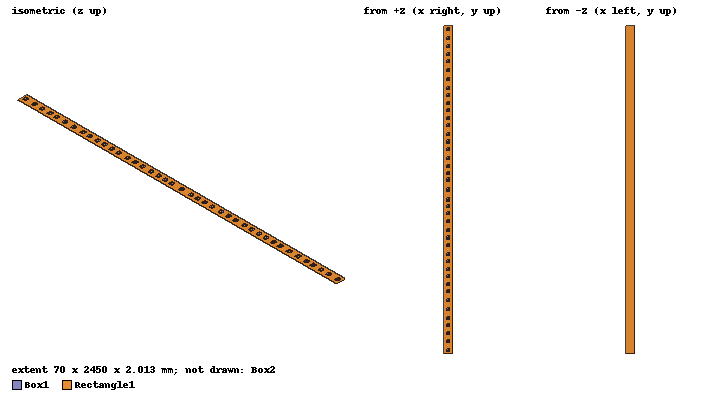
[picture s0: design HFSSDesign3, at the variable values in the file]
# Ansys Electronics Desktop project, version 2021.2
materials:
  copper: permeability=0.999991 conductivity=58000000
  tp-2 16: permittivity=16 dielectric_loss_tangent=0.0015
  vacuum: permittivity=1

design HFSSDesign3 (HFSS, DrivenModal, model units mm)
options: Calculate_Lossy_Dielectrics Save_Adaptive_support_files
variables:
  gx = 25mm
  gy = gx
  h = 1.013mm
  pa = 14.75mm
  df = 1.4mm
  rf = 0.5mm
  a = 50mm
  h1 = 1mm
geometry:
  Box1 [tp-2 16] = box(corner=(-gx/2, -gy/2, 0mm), size=(gx, gy, h))
  gnd = rectangle(corner=(-gx/2, -gy/2, 0mm), x_size=gx, y_size=gy)
  coordinate_system RelativeCS1 = origin=(0mm, 0mm, h) x=(1mm, 0mm, 0mm) y=(0mm, 1mm, 0mm)
  patch = rectangle(corner=(-pa/2, -pa/2, 0mm), x_size=pa, y_size=pa) in RelativeCS1
  coordinate_system RelativeCS2 = origin=(df, 0mm, 0mm) x=(1mm, 0mm, 0mm) y=(0mm, 1mm, 0mm) in RelativeCS1
  Cylinder1 [copper] = cylinder(axis=Z, base_centre=(0mm, 0mm, 0mm), radius=rf, height=-h) in RelativeCS2
  port1 = circle(normal=Z, centre=(0mm, 0mm, -h), radius=rf*2.3) in RelativeCS2
  Circle1_1 = port1.copy()
  gnd.subtract(Circle1_1)
  Box2 [vacuum] = box(corner=(-80mm, -1250mm, -50mm), size=(160mm, 2500mm, 105mm))
  Rectangle1 = rectangle(corner=(-a/2, -a/2, -h1), x_size=a, y_size=a)
  Box1_1 = Box1.duplicate_along_line(step=(0mm, 74.58mm, 0mm), total=2)
  gnd_1 = gnd.duplicate_along_line(step=(0mm, 74.58mm, 0mm), total=2)
  patch_1 = patch.duplicate_along_line(step=(0mm, 74.58mm, 0mm), total=2)
  Cylinder1_1 [copper] = Cylinder1.duplicate_along_line(step=(0mm, 74.58mm, 0mm), total=2)
  port1_1 = port1.duplicate_along_line(step=(0mm, 74.58mm, 0mm), total=2)
  Rectangle1_1 = Rectangle1.duplicate_along_line(step=(0mm, 74.58mm, 0mm), total=2)
  Box1_2 = Box1.duplicate_along_line(step=(0mm, 124.96mm, 0mm), total=2)
  gnd_2 = gnd.duplicate_along_line(step=(0mm, 124.96mm, 0mm), total=2)
  patch_2 = patch.duplicate_along_line(step=(0mm, 124.96mm, 0mm), total=2)
  Cylinder1_2 [copper] = Cylinder1.duplicate_along_line(step=(0mm, 124.96mm, 0mm), total=2)
  port1_2 = port1.duplicate_along_line(step=(0mm, 124.96mm, 0mm), total=2)
  Rectangle1_2 = Rectangle1.duplicate_along_line(step=(0mm, 124.96mm, 0mm), total=2)
  Box1_3 = Box1.duplicate_along_line(step=(0mm, 176.92mm, 0mm), total=2)
  gnd_3 = gnd.duplicate_along_line(step=(0mm, 176.92mm, 0mm), total=2)
  patch_3 = patch.duplicate_along_line(step=(0mm, 176.92mm, 0mm), total=2)
  Cylinder1_3 [copper] = Cylinder1.duplicate_along_line(step=(0mm, 176.92mm, 0mm), total=2)
  port1_3 = port1.duplicate_along_line(step=(0mm, 176.92mm, 0mm), total=2)
  Rectangle1_3 = Rectangle1.duplicate_along_line(step=(0mm, 176.92mm, 0mm), total=2)
  Box1_4 = Box1.duplicate_along_line(step=(0mm, 234.85mm, 0mm), total=2)
  gnd_4 = gnd.duplicate_along_line(step=(0mm, 234.85mm, 0mm), total=2)
  patch_4 = patch.duplicate_along_line(step=(0mm, 234.85mm, 0mm), total=2)
  Cylinder1_4 [copper] = Cylinder1.duplicate_along_line(step=(0mm, 234.85mm, 0mm), total=2)
  port1_4 = port1.duplicate_along_line(step=(0mm, 234.85mm, 0mm), total=2)
  Rectangle1_4 = Rectangle1.duplicate_along_line(step=(0mm, 234.85mm, 0mm), total=2)
  Box1_5 = Box1.duplicate_along_line(step=(0mm, 300.51mm, 0mm), total=2)
  gnd_5 = gnd.duplicate_along_line(step=(0mm, 300.51mm, 0mm), total=2)
  patch_5 = patch.duplicate_along_line(step=(0mm, 300.51mm, 0mm), total=2)
  Cylinder1_5 [copper] = Cylinder1.duplicate_along_line(step=(0mm, 300.51mm, 0mm), total=2)
  port1_5 = port1.duplicate_along_line(step=(0mm, 300.51mm, 0mm), total=2)
  Rectangle1_5 = Rectangle1.duplicate_along_line(step=(0mm, 300.51mm, 0mm), total=2)
  Box1_6 = Box1.duplicate_along_line(step=(0mm, 358.43mm, 0mm), total=2)
  gnd_6 = gnd.duplicate_along_line(step=(0mm, 358.43mm, 0mm), total=2)
  patch_6 = patch.duplicate_along_line(step=(0mm, 358.43mm, 0mm), total=2)
  Cylinder1_6 [copper] = Cylinder1.duplicate_along_line(step=(0mm, 358.43mm, 0mm), total=2)
  port1_6 = port1.duplicate_along_line(step=(0mm, 358.43mm, 0mm), total=2)
  Rectangle1_6 = Rectangle1.duplicate_along_line(step=(0mm, 358.43mm, 0mm), total=2)
  Box1_7 = Box1.duplicate_along_line(step=(0mm, 413.9mm, 0mm), total=2)
  gnd_7 = gnd.duplicate_along_line(step=(0mm, 413.9mm, 0mm), total=2)
  patch_7 = patch.duplicate_along_line(step=(0mm, 413.9mm, 0mm), total=2)
  Cylinder1_7 [copper] = Cylinder1.duplicate_along_line(step=(0mm, 413.9mm, 0mm), total=2)
  port1_7 = port1.duplicate_along_line(step=(0mm, 413.9mm, 0mm), total=2)
  Rectangle1_7 = Rectangle1.duplicate_along_line(step=(0mm, 413.9mm, 0mm), total=2)
  Box1_8 = Box1.duplicate_along_line(step=(0mm, 481.86mm, 0mm), total=2)
  gnd_8 = gnd.duplicate_along_line(step=(0mm, 481.86mm, 0mm), total=2)
  patch_8 = patch.duplicate_along_line(step=(0mm, 481.86mm, 0mm), total=2)
  Cylinder1_8 [copper] = Cylinder1.duplicate_along_line(step=(0mm, 481.86mm, 0mm), total=2)
  port1_8 = port1.duplicate_along_line(step=(0mm, 481.86mm, 0mm), total=2)
  Rectangle1_8 = Rectangle1.duplicate_along_line(step=(0mm, 481.86mm, 0mm), total=2)
  Box1_9 = Box1.duplicate_along_line(step=(0mm, 535.4mm, 0mm), total=2)
  gnd_9 = gnd.duplicate_along_line(step=(0mm, 535.4mm, 0mm), total=2)
  patch_9 = patch.duplicate_along_line(step=(0mm, 535.4mm, 0mm), total=2)
  Cylinder1_9 [copper] = Cylinder1.duplicate_along_line(step=(0mm, 535.4mm, 0mm), total=2)
  port1_9 = port1.duplicate_along_line(step=(0mm, 535.4mm, 0mm), total=2)
  Rectangle1_9 = Rectangle1.duplicate_along_line(step=(0mm, 535.4mm, 0mm), total=2)
  Box1_10 = Box1.duplicate_along_line(step=(0mm, 594.53mm, 0mm), total=2)
  gnd_10 = gnd.duplicate_along_line(step=(0mm, 594.53mm, 0mm), total=2)
  patch_10 = patch.duplicate_along_line(step=(0mm, 594.53mm, 0mm), total=2)
  Cylinder1_10 [copper] = Cylinder1.duplicate_along_line(step=(0mm, 594.53mm, 0mm), total=2)
  port1_10 = port1.duplicate_along_line(step=(0mm, 594.53mm, 0mm), total=2)
  Rectangle1_10 = Rectangle1.duplicate_along_line(step=(0mm, 594.53mm, 0mm), total=2)
  Box1_11 = Box1.duplicate_along_line(step=(0mm, 646.73mm, 0mm), total=2)
  gnd_11 = gnd.duplicate_along_line(step=(0mm, 646.73mm, 0mm), total=2)
  patch_11 = patch.duplicate_along_line(step=(0mm, 646.73mm, 0mm), total=2)
  Cylinder1_11 [copper] = Cylinder1.duplicate_along_line(step=(0mm, 646.73mm, 0mm), total=2)
  port1_11 = port1.duplicate_along_line(step=(0mm, 646.73mm, 0mm), total=2)
  Rectangle1_11 = Rectangle1.duplicate_along_line(step=(0mm, 646.73mm, 0mm), total=2)
  Box1_12 = Box1.duplicate_along_line(step=(0mm, 705.14mm, 0mm), total=2)
  gnd_12 = gnd.duplicate_along_line(step=(0mm, 705.14mm, 0mm), total=2)
  patch_12 = patch.duplicate_along_line(step=(0mm, 705.14mm, 0mm), total=2)
  Cylinder1_12 [copper] = Cylinder1.duplicate_along_line(step=(0mm, 705.14mm, 0mm), total=2)
  port1_12 = port1.duplicate_along_line(step=(0mm, 705.14mm, 0mm), total=2)
  Rectangle1_12 = Rectangle1.duplicate_along_line(step=(0mm, 705.14mm, 0mm), total=2)
  Box1_13 = Box1.duplicate_along_line(step=(0mm, 757.27mm, 0mm), total=2)
  gnd_13 = gnd.duplicate_along_line(step=(0mm, 757.27mm, 0mm), total=2)
  patch_13 = patch.duplicate_along_line(step=(0mm, 757.27mm, 0mm), total=2)
  Cylinder1_13 [copper] = Cylinder1.duplicate_along_line(step=(0mm, 757.27mm, 0mm), total=2)
  port1_13 = port1.duplicate_along_line(step=(0mm, 757.27mm, 0mm), total=2)
  Rectangle1_13 = Rectangle1.duplicate_along_line(step=(0mm, 757.27mm, 0mm), total=2)
  Box1_14 = Box1.duplicate_along_line(step=(0mm, 827.45mm, 0mm), total=2)
  gnd_14 = gnd.duplicate_along_line(step=(0mm, 827.45mm, 0mm), total=2)
  patch_14 = patch.duplicate_along_line(step=(0mm, 827.45mm, 0mm), total=2)
  Cylinder1_14 [copper] = Cylinder1.duplicate_along_line(step=(0mm, 827.45mm, 0mm), total=2)
  port1_14 = port1.duplicate_along_line(step=(0mm, 827.45mm, 0mm), total=2)
  Rectangle1_14 = Rectangle1.duplicate_along_line(step=(0mm, 827.45mm, 0mm), total=2)
  Box1_15 = Box1.duplicate_along_line(step=(0mm, 894.43mm, 0mm), total=2)
  gnd_15 = gnd.duplicate_along_line(step=(0mm, 894.43mm, 0mm), total=2)
  patch_15 = patch.duplicate_along_line(step=(0mm, 894.43mm, 0mm), total=2)
  Cylinder1_15 [copper] = Cylinder1.duplicate_along_line(step=(0mm, 894.43mm, 0mm), total=2)
  port1_15 = port1.duplicate_along_line(step=(0mm, 894.43mm, 0mm), total=2)
  Rectangle1_15 = Rectangle1.duplicate_along_line(step=(0mm, 894.43mm, 0mm), total=2)
  Box1_16 = Box1.duplicate_along_line(step=(0mm, 959.48mm, 0mm), total=2)
  gnd_16 = gnd.duplicate_along_line(step=(0mm, 959.48mm, 0mm), total=2)
  patch_16 = patch.duplicate_along_line(step=(0mm, 959.48mm, 0mm), total=2)
  Cylinder1_16 [copper] = Cylinder1.duplicate_along_line(step=(0mm, 959.48mm, 0mm), total=2)
  port1_16 = port1.duplicate_along_line(step=(0mm, 959.48mm, 0mm), total=2)
  Rectangle1_16 = Rectangle1.duplicate_along_line(step=(0mm, 959.48mm, 0mm), total=2)
  Box1_17 = Box1.duplicate_along_line(step=(0mm, 1010.34mm, 0mm), total=2)
  gnd_17 = gnd.duplicate_along_line(step=(0mm, 1010.34mm, 0mm), total=2)
  patch_17 = patch.duplicate_along_line(step=(0mm, 1010.34mm, 0mm), total=2)
  Cylinder1_17 [copper] = Cylinder1.duplicate_along_line(step=(0mm, 1010.34mm, 0mm), total=2)
  port1_17 = port1.duplicate_along_line(step=(0mm, 1010.34mm, 0mm), total=2)
  Rectangle1_17 = Rectangle1.duplicate_along_line(step=(0mm, 1010.34mm, 0mm), total=2)
  Box1_18 = Box1.duplicate_along_line(step=(0mm, 1071.77mm, 0mm), total=2)
  gnd_18 = gnd.duplicate_along_line(step=(0mm, 1071.77mm, 0mm), total=2)
  patch_18 = patch.duplicate_along_line(step=(0mm, 1071.77mm, 0mm), total=2)
  Cylinder1_18 [copper] = Cylinder1.duplicate_along_line(step=(0mm, 1071.77mm, 0mm), total=2)
  port1_18 = port1.duplicate_along_line(step=(0mm, 1071.77mm, 0mm), total=2)
  Rectangle1_18 = Rectangle1.duplicate_along_line(step=(0mm, 1071.77mm, 0mm), total=2)
  Box1_19 = Box1.duplicate_along_line(step=(0mm, 1131.29mm, 0mm), total=2)
  gnd_19 = gnd.duplicate_along_line(step=(0mm, 1131.29mm, 0mm), total=2)
  patch_19 = patch.duplicate_along_line(step=(0mm, 1131.29mm, 0mm), total=2)
  Cylinder1_19 [copper] = Cylinder1.duplicate_along_line(step=(0mm, 1131.29mm, 0mm), total=2)
  port1_19 = port1.duplicate_along_line(step=(0mm, 1131.29mm, 0mm), total=2)
  Rectangle1_19 = Rectangle1.duplicate_along_line(step=(0mm, 1131.29mm, 0mm), total=2)
  Box1_20 = Box1.duplicate_along_line(step=(0mm, 1200mm, 0mm), total=2)
  gnd_20 = gnd.duplicate_along_line(step=(0mm, 1200mm, 0mm), total=2)
  patch_20 = patch.duplicate_along_line(step=(0mm, 1200mm, 0mm), total=2)
  Cylinder1_20 [copper] = Cylinder1.duplicate_along_line(step=(0mm, 1200mm, 0mm), total=2)
  port1_20 = port1.duplicate_along_line(step=(0mm, 1200mm, 0mm), total=2)
  Rectangle1_20 = Rectangle1.duplicate_along_line(step=(0mm, 1200mm, 0mm), total=2)
  Box1_1_1 = Box1_1.duplicate_mirror(point=(140mm, 0mm, 0mm), normal=(0mm, -1mm, 0mm))
  gnd_1_1 = gnd_1.duplicate_mirror(point=(140mm, 0mm, 0mm), normal=(0mm, -1mm, 0mm))
  patch_1_1 = patch_1.duplicate_mirror(point=(140mm, 0mm, 0mm), normal=(0mm, -1mm, 0mm))
  Cylinder1_1_1 [copper] = Cylinder1_1.duplicate_mirror(point=(140mm, 0mm, 0mm), normal=(0mm, -1mm, 0mm))
  port1_1_1 = port1_1.duplicate_mirror(point=(140mm, 0mm, 0mm), normal=(0mm, -1mm, 0mm))
  Rectangle1_1_1 = Rectangle1_1.duplicate_mirror(point=(140mm, 0mm, 0mm), normal=(0mm, -1mm, 0mm))
  Box1_2_1 = Box1_2.duplicate_mirror(point=(140mm, 0mm, 0mm), normal=(0mm, -1mm, 0mm))
  gnd_2_1 = gnd_2.duplicate_mirror(point=(140mm, 0mm, 0mm), normal=(0mm, -1mm, 0mm))
  patch_2_1 = patch_2.duplicate_mirror(point=(140mm, 0mm, 0mm), normal=(0mm, -1mm, 0mm))
  Cylinder1_2_1 [copper] = Cylinder1_2.duplicate_mirror(point=(140mm, 0mm, 0mm), normal=(0mm, -1mm, 0mm))
  port1_2_1 = port1_2.duplicate_mirror(point=(140mm, 0mm, 0mm), normal=(0mm, -1mm, 0mm))
  Rectangle1_2_1 = Rectangle1_2.duplicate_mirror(point=(140mm, 0mm, 0mm), normal=(0mm, -1mm, 0mm))
  Box1_3_1 = Box1_3.duplicate_mirror(point=(140mm, 0mm, 0mm), normal=(0mm, -1mm, 0mm))
  gnd_3_1 = gnd_3.duplicate_mirror(point=(140mm, 0mm, 0mm), normal=(0mm, -1mm, 0mm))
  patch_3_1 = patch_3.duplicate_mirror(point=(140mm, 0mm, 0mm), normal=(0mm, -1mm, 0mm))
  Cylinder1_3_1 [copper] = Cylinder1_3.duplicate_mirror(point=(140mm, 0mm, 0mm), normal=(0mm, -1mm, 0mm))
  port1_3_1 = port1_3.duplicate_mirror(point=(140mm, 0mm, 0mm), normal=(0mm, -1mm, 0mm))
  Rectangle1_3_1 = Rectangle1_3.duplicate_mirror(point=(140mm, 0mm, 0mm), normal=(0mm, -1mm, 0mm))
  Box1_4_1 = Box1_4.duplicate_mirror(point=(140mm, 0mm, 0mm), normal=(0mm, -1mm, 0mm))
  gnd_4_1 = gnd_4.duplicate_mirror(point=(140mm, 0mm, 0mm), normal=(0mm, -1mm, 0mm))
  patch_4_1 = patch_4.duplicate_mirror(point=(140mm, 0mm, 0mm), normal=(0mm, -1mm, 0mm))
  Cylinder1_4_1 [copper] = Cylinder1_4.duplicate_mirror(point=(140mm, 0mm, 0mm), normal=(0mm, -1mm, 0mm))
  port1_4_1 = port1_4.duplicate_mirror(point=(140mm, 0mm, 0mm), normal=(0mm, -1mm, 0mm))
  Rectangle1_4_1 = Rectangle1_4.duplicate_mirror(point=(140mm, 0mm, 0mm), normal=(0mm, -1mm, 0mm))
  Box1_5_1 = Box1_5.duplicate_mirror(point=(140mm, 0mm, 0mm), normal=(0mm, -1mm, 0mm))
  gnd_5_1 = gnd_5.duplicate_mirror(point=(140mm, 0mm, 0mm), normal=(0mm, -1mm, 0mm))
  patch_5_1 = patch_5.duplicate_mirror(point=(140mm, 0mm, 0mm), normal=(0mm, -1mm, 0mm))
  Cylinder1_5_1 [copper] = Cylinder1_5.duplicate_mirror(point=(140mm, 0mm, 0mm), normal=(0mm, -1mm, 0mm))
  port1_5_1 = port1_5.duplicate_mirror(point=(140mm, 0mm, 0mm), normal=(0mm, -1mm, 0mm))
  Rectangle1_5_1 = Rectangle1_5.duplicate_mirror(point=(140mm, 0mm, 0mm), normal=(0mm, -1mm, 0mm))
  Box1_6_1 = Box1_6.duplicate_mirror(point=(140mm, 0mm, 0mm), normal=(0mm, -1mm, 0mm))
  gnd_6_1 = gnd_6.duplicate_mirror(point=(140mm, 0mm, 0mm), normal=(0mm, -1mm, 0mm))
  patch_6_1 = patch_6.duplicate_mirror(point=(140mm, 0mm, 0mm), normal=(0mm, -1mm, 0mm))
  Cylinder1_6_1 [copper] = Cylinder1_6.duplicate_mirror(point=(140mm, 0mm, 0mm), normal=(0mm, -1mm, 0mm))
  port1_6_1 = port1_6.duplicate_mirror(point=(140mm, 0mm, 0mm), normal=(0mm, -1mm, 0mm))
  Rectangle1_6_1 = Rectangle1_6.duplicate_mirror(point=(140mm, 0mm, 0mm), normal=(0mm, -1mm, 0mm))
  Box1_7_1 = Box1_7.duplicate_mirror(point=(140mm, 0mm, 0mm), normal=(0mm, -1mm, 0mm))
  gnd_7_1 = gnd_7.duplicate_mirror(point=(140mm, 0mm, 0mm), normal=(0mm, -1mm, 0mm))
  patch_7_1 = patch_7.duplicate_mirror(point=(140mm, 0mm, 0mm), normal=(0mm, -1mm, 0mm))
  Cylinder1_7_1 [copper] = Cylinder1_7.duplicate_mirror(point=(140mm, 0mm, 0mm), normal=(0mm, -1mm, 0mm))
  port1_7_1 = port1_7.duplicate_mirror(point=(140mm, 0mm, 0mm), normal=(0mm, -1mm, 0mm))
  Rectangle1_7_1 = Rectangle1_7.duplicate_mirror(point=(140mm, 0mm, 0mm), normal=(0mm, -1mm, 0mm))
  Box1_8_1 = Box1_8.duplicate_mirror(point=(140mm, 0mm, 0mm), normal=(0mm, -1mm, 0mm))
  gnd_8_1 = gnd_8.duplicate_mirror(point=(140mm, 0mm, 0mm), normal=(0mm, -1mm, 0mm))
  patch_8_1 = patch_8.duplicate_mirror(point=(140mm, 0mm, 0mm), normal=(0mm, -1mm, 0mm))
  Cylinder1_8_1 [copper] = Cylinder1_8.duplicate_mirror(point=(140mm, 0mm, 0mm), normal=(0mm, -1mm, 0mm))
  port1_8_1 = port1_8.duplicate_mirror(point=(140mm, 0mm, 0mm), normal=(0mm, -1mm, 0mm))
  Rectangle1_8_1 = Rectangle1_8.duplicate_mirror(point=(140mm, 0mm, 0mm), normal=(0mm, -1mm, 0mm))
  Box1_9_1 = Box1_9.duplicate_mirror(point=(140mm, 0mm, 0mm), normal=(0mm, -1mm, 0mm))
  gnd_9_1 = gnd_9.duplicate_mirror(point=(140mm, 0mm, 0mm), normal=(0mm, -1mm, 0mm))
  patch_9_1 = patch_9.duplicate_mirror(point=(140mm, 0mm, 0mm), normal=(0mm, -1mm, 0mm))
  Cylinder1_9_1 [copper] = Cylinder1_9.duplicate_mirror(point=(140mm, 0mm, 0mm), normal=(0mm, -1mm, 0mm))
  port1_9_1 = port1_9.duplicate_mirror(point=(140mm, 0mm, 0mm), normal=(0mm, -1mm, 0mm))
  Rectangle1_9_1 = Rectangle1_9.duplicate_mirror(point=(140mm, 0mm, 0mm), normal=(0mm, -1mm, 0mm))
  Box1_10_1 = Box1_10.duplicate_mirror(point=(140mm, 0mm, 0mm), normal=(0mm, -1mm, 0mm))
  gnd_10_1 = gnd_10.duplicate_mirror(point=(140mm, 0mm, 0mm), normal=(0mm, -1mm, 0mm))
  patch_10_1 = patch_10.duplicate_mirror(point=(140mm, 0mm, 0mm), normal=(0mm, -1mm, 0mm))
  Cylinder1_10_1 [copper] = Cylinder1_10.duplicate_mirror(point=(140mm, 0mm, 0mm), normal=(0mm, -1mm, 0mm))
  port1_10_1 = port1_10.duplicate_mirror(point=(140mm, 0mm, 0mm), normal=(0mm, -1mm, 0mm))
  Rectangle1_10_1 = Rectangle1_10.duplicate_mirror(point=(140mm, 0mm, 0mm), normal=(0mm, -1mm, 0mm))
  Box1_11_1 = Box1_11.duplicate_mirror(point=(140mm, 0mm, 0mm), normal=(0mm, -1mm, 0mm))
  gnd_11_1 = gnd_11.duplicate_mirror(point=(140mm, 0mm, 0mm), normal=(0mm, -1mm, 0mm))
  patch_11_1 = patch_11.duplicate_mirror(point=(140mm, 0mm, 0mm), normal=(0mm, -1mm, 0mm))
  Cylinder1_11_1 [copper] = Cylinder1_11.duplicate_mirror(point=(140mm, 0mm, 0mm), normal=(0mm, -1mm, 0mm))
  port1_11_1 = port1_11.duplicate_mirror(point=(140mm, 0mm, 0mm), normal=(0mm, -1mm, 0mm))
  Rectangle1_11_1 = Rectangle1_11.duplicate_mirror(point=(140mm, 0mm, 0mm), normal=(0mm, -1mm, 0mm))
  Box1_12_1 = Box1_12.duplicate_mirror(point=(140mm, 0mm, 0mm), normal=(0mm, -1mm, 0mm))
  gnd_12_1 = gnd_12.duplicate_mirror(point=(140mm, 0mm, 0mm), normal=(0mm, -1mm, 0mm))
  patch_12_1 = patch_12.duplicate_mirror(point=(140mm, 0mm, 0mm), normal=(0mm, -1mm, 0mm))
  Cylinder1_12_1 [copper] = Cylinder1_12.duplicate_mirror(point=(140mm, 0mm, 0mm), normal=(0mm, -1mm, 0mm))
  port1_12_1 = port1_12.duplicate_mirror(point=(140mm, 0mm, 0mm), normal=(0mm, -1mm, 0mm))
  Rectangle1_12_1 = Rectangle1_12.duplicate_mirror(point=(140mm, 0mm, 0mm), normal=(0mm, -1mm, 0mm))
  Box1_13_1 = Box1_13.duplicate_mirror(point=(140mm, 0mm, 0mm), normal=(0mm, -1mm, 0mm))
  gnd_13_1 = gnd_13.duplicate_mirror(point=(140mm, 0mm, 0mm), normal=(0mm, -1mm, 0mm))
  patch_13_1 = patch_13.duplicate_mirror(point=(140mm, 0mm, 0mm), normal=(0mm, -1mm, 0mm))
  Cylinder1_13_1 [copper] = Cylinder1_13.duplicate_mirror(point=(140mm, 0mm, 0mm), normal=(0mm, -1mm, 0mm))
  port1_13_1 = port1_13.duplicate_mirror(point=(140mm, 0mm, 0mm), normal=(0mm, -1mm, 0mm))
  Rectangle1_13_1 = Rectangle1_13.duplicate_mirror(point=(140mm, 0mm, 0mm), normal=(0mm, -1mm, 0mm))
  Box1_14_1 = Box1_14.duplicate_mirror(point=(140mm, 0mm, 0mm), normal=(0mm, -1mm, 0mm))
  gnd_14_1 = gnd_14.duplicate_mirror(point=(140mm, 0mm, 0mm), normal=(0mm, -1mm, 0mm))
  patch_14_1 = patch_14.duplicate_mirror(point=(140mm, 0mm, 0mm), normal=(0mm, -1mm, 0mm))
  Cylinder1_14_1 [copper] = Cylinder1_14.duplicate_mirror(point=(140mm, 0mm, 0mm), normal=(0mm, -1mm, 0mm))
  port1_14_1 = port1_14.duplicate_mirror(point=(140mm, 0mm, 0mm), normal=(0mm, -1mm, 0mm))
  Rectangle1_14_1 = Rectangle1_14.duplicate_mirror(point=(140mm, 0mm, 0mm), normal=(0mm, -1mm, 0mm))
  Box1_15_1 = Box1_15.duplicate_mirror(point=(140mm, 0mm, 0mm), normal=(0mm, -1mm, 0mm))
  gnd_15_1 = gnd_15.duplicate_mirror(point=(140mm, 0mm, 0mm), normal=(0mm, -1mm, 0mm))
  patch_15_1 = patch_15.duplicate_mirror(point=(140mm, 0mm, 0mm), normal=(0mm, -1mm, 0mm))
  Cylinder1_15_1 [copper] = Cylinder1_15.duplicate_mirror(point=(140mm, 0mm, 0mm), normal=(0mm, -1mm, 0mm))
  port1_15_1 = port1_15.duplicate_mirror(point=(140mm, 0mm, 0mm), normal=(0mm, -1mm, 0mm))
  Rectangle1_15_1 = Rectangle1_15.duplicate_mirror(point=(140mm, 0mm, 0mm), normal=(0mm, -1mm, 0mm))
  Box1_16_1 = Box1_16.duplicate_mirror(point=(140mm, 0mm, 0mm), normal=(0mm, -1mm, 0mm))
  gnd_16_1 = gnd_16.duplicate_mirror(point=(140mm, 0mm, 0mm), normal=(0mm, -1mm, 0mm))
  patch_16_1 = patch_16.duplicate_mirror(point=(140mm, 0mm, 0mm), normal=(0mm, -1mm, 0mm))
  Cylinder1_16_1 [copper] = Cylinder1_16.duplicate_mirror(point=(140mm, 0mm, 0mm), normal=(0mm, -1mm, 0mm))
  port1_16_1 = port1_16.duplicate_mirror(point=(140mm, 0mm, 0mm), normal=(0mm, -1mm, 0mm))
  Rectangle1_16_1 = Rectangle1_16.duplicate_mirror(point=(140mm, 0mm, 0mm), normal=(0mm, -1mm, 0mm))
  Box1_17_1 = Box1_17.duplicate_mirror(point=(140mm, 0mm, 0mm), normal=(0mm, -1mm, 0mm))
  gnd_17_1 = gnd_17.duplicate_mirror(point=(140mm, 0mm, 0mm), normal=(0mm, -1mm, 0mm))
  patch_17_1 = patch_17.duplicate_mirror(point=(140mm, 0mm, 0mm), normal=(0mm, -1mm, 0mm))
  Cylinder1_17_1 [copper] = Cylinder1_17.duplicate_mirror(point=(140mm, 0mm, 0mm), normal=(0mm, -1mm, 0mm))
  port1_17_1 = port1_17.duplicate_mirror(point=(140mm, 0mm, 0mm), normal=(0mm, -1mm, 0mm))
  Rectangle1_17_1 = Rectangle1_17.duplicate_mirror(point=(140mm, 0mm, 0mm), normal=(0mm, -1mm, 0mm))
  Box1_18_1 = Box1_18.duplicate_mirror(point=(140mm, 0mm, 0mm), normal=(0mm, -1mm, 0mm))
  gnd_18_1 = gnd_18.duplicate_mirror(point=(140mm, 0mm, 0mm), normal=(0mm, -1mm, 0mm))
  patch_18_1 = patch_18.duplicate_mirror(point=(140mm, 0mm, 0mm), normal=(0mm, -1mm, 0mm))
  Cylinder1_18_1 [copper] = Cylinder1_18.duplicate_mirror(point=(140mm, 0mm, 0mm), normal=(0mm, -1mm, 0mm))
  port1_18_1 = port1_18.duplicate_mirror(point=(140mm, 0mm, 0mm), normal=(0mm, -1mm, 0mm))
  Rectangle1_18_1 = Rectangle1_18.duplicate_mirror(point=(140mm, 0mm, 0mm), normal=(0mm, -1mm, 0mm))
  Box1_19_1 = Box1_19.duplicate_mirror(point=(140mm, 0mm, 0mm), normal=(0mm, -1mm, 0mm))
  gnd_19_1 = gnd_19.duplicate_mirror(point=(140mm, 0mm, 0mm), normal=(0mm, -1mm, 0mm))
  patch_19_1 = patch_19.duplicate_mirror(point=(140mm, 0mm, 0mm), normal=(0mm, -1mm, 0mm))
  Cylinder1_19_1 [copper] = Cylinder1_19.duplicate_mirror(point=(140mm, 0mm, 0mm), normal=(0mm, -1mm, 0mm))
  port1_19_1 = port1_19.duplicate_mirror(point=(140mm, 0mm, 0mm), normal=(0mm, -1mm, 0mm))
  Rectangle1_19_1 = Rectangle1_19.duplicate_mirror(point=(140mm, 0mm, 0mm), normal=(0mm, -1mm, 0mm))
  Box1_20_1 = Box1_20.duplicate_mirror(point=(140mm, 0mm, 0mm), normal=(0mm, -1mm, 0mm))
  gnd_20_1 = gnd_20.duplicate_mirror(point=(140mm, 0mm, 0mm), normal=(0mm, -1mm, 0mm))
  patch_20_1 = patch_20.duplicate_mirror(point=(140mm, 0mm, 0mm), normal=(0mm, -1mm, 0mm))
  Cylinder1_20_1 [copper] = Cylinder1_20.duplicate_mirror(point=(140mm, 0mm, 0mm), normal=(0mm, -1mm, 0mm))
  port1_20_1 = port1_20.duplicate_mirror(point=(140mm, 0mm, 0mm), normal=(0mm, -1mm, 0mm))
  Rectangle1_20_1 = Rectangle1_20.duplicate_mirror(point=(140mm, 0mm, 0mm), normal=(0mm, -1mm, 0mm))
  Rectangle1.unite(Rectangle1_1, Rectangle1_1_1, Rectangle1_2, Rectangle1_2_1, Rectangle1_3, Rectangle1_3_1, Rectangle1_4, Rectangle1_4_1, Rectangle1_5, Rectangle1_5_1, Rectangle1_6, Rectangle1_6_1, Rectangle1_7, Rectangle1_7_1, Rectangle1_8, Rectangle1_8_1, Rectangle1_9, Rectangle1_9_1, Rectangle1_10, Rectangle1_10_1, Rectangle1_11, Rectangle1_11_1, Rectangle1_12, Rectangle1_12_1, Rectangle1_13, Rectangle1_13_1, Rectangle1_14, Rectangle1_14_1, Rectangle1_15, Rectangle1_15_1, Rectangle1_16, Rectangle1_16_1, Rectangle1_17, Rectangle1_17_1, Rectangle1_18, Rectangle1_18_1, Rectangle1_19, Rectangle1_19_1, Rectangle1_20, Rectangle1_20_1)
  Box1.unite(Box1_1, Box1_1_1, Box1_2, Box1_2_1, Box1_3, Box1_3_1, Box1_4, Box1_4_1, Box1_5, Box1_5_1, Box1_6, Box1_6_1, Box1_7, Box1_7_1, Box1_8, Box1_8_1, Box1_9, Box1_9_1, Box1_10, Box1_10_1, Box1_11, Box1_11_1, Box1_12, Box1_12_1, Box1_13, Box1_13_1, Box1_14, Box1_14_1, Box1_15, Box1_15_1, Box1_16, Box1_16_1, Box1_17, Box1_17_1, Box1_18, Box1_18_1, Box1_19, Box1_19_1, Box1_20, Box1_20_1)
  Rectangle2 = rectangle(corner=(-35mm, -1225mm, -1mm), x_size=70mm, y_size=2450mm)
  Rectangle1.unite(Rectangle2)
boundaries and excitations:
  PerfE1: Perfect E Objects=gnd
  PerfE2: Perfect E Objects=patch
  Rad1: Radiation Objects=Box2
  PerfE3: Perfect E Objects=Rectangle1
  PerfE4: Perfect E Objects=gnd_1
  PerfE5: Perfect E Objects=patch_1
  PerfE7: Perfect E Objects=gnd_2
  PerfE8: Perfect E Objects=patch_2
  PerfE10: Perfect E Objects=gnd_3
  PerfE11: Perfect E Objects=patch_3
  PerfE13: Perfect E Objects=gnd_4
  PerfE14: Perfect E Objects=patch_4
  PerfE16: Perfect E Objects=gnd_5
  PerfE17: Perfect E Objects=patch_5
  PerfE19: Perfect E Objects=gnd_6
  PerfE20: Perfect E Objects=patch_6
  PerfE22: Perfect E Objects=gnd_7
  PerfE23: Perfect E Objects=patch_7
  PerfE25: Perfect E Objects=gnd_8
  PerfE26: Perfect E Objects=patch_8
  PerfE28: Perfect E Objects=gnd_9
  PerfE29: Perfect E Objects=patch_9
  PerfE31: Perfect E Objects=gnd_10
  PerfE32: Perfect E Objects=patch_10
  PerfE34: Perfect E Objects=gnd_11
  PerfE35: Perfect E Objects=patch_11
  PerfE37: Perfect E Objects=gnd_12
  PerfE38: Perfect E Objects=patch_12
  PerfE40: Perfect E Objects=gnd_13
  PerfE41: Perfect E Objects=patch_13
  PerfE43: Perfect E Objects=gnd_14
  PerfE44: Perfect E Objects=patch_14
  PerfE46: Perfect E Objects=gnd_15
  PerfE47: Perfect E Objects=patch_15
  PerfE49: Perfect E Objects=gnd_16
  PerfE50: Perfect E Objects=patch_16
  PerfE52: Perfect E Objects=gnd_17
  PerfE53: Perfect E Objects=patch_17
  PerfE55: Perfect E Objects=gnd_18
  PerfE56: Perfect E Objects=patch_18
  PerfE58: Perfect E Objects=gnd_19
  PerfE59: Perfect E Objects=patch_19
  PerfE61: Perfect E Objects=gnd_20
  PerfE62: Perfect E Objects=patch_20
  PerfE64: Perfect E Objects=gnd_1_1
  PerfE65: Perfect E Objects=patch_1_1
  PerfE67: Perfect E Objects=gnd_2_1
  PerfE68: Perfect E Objects=patch_2_1
  PerfE70: Perfect E Objects=gnd_3_1
  PerfE71: Perfect E Objects=patch_3_1
  PerfE73: Perfect E Objects=gnd_4_1
  PerfE74: Perfect E Objects=patch_4_1
  PerfE76: Perfect E Objects=gnd_5_1
  PerfE77: Perfect E Objects=patch_5_1
  PerfE79: Perfect E Objects=gnd_6_1
  PerfE80: Perfect E Objects=patch_6_1
  PerfE82: Perfect E Objects=gnd_7_1
  PerfE83: Perfect E Objects=patch_7_1
  PerfE85: Perfect E Objects=gnd_8_1
  PerfE86: Perfect E Objects=patch_8_1
  PerfE88: Perfect E Objects=gnd_9_1
  PerfE89: Perfect E Objects=patch_9_1
  PerfE91: Perfect E Objects=gnd_10_1
  PerfE92: Perfect E Objects=patch_10_1
  PerfE94: Perfect E Objects=gnd_11_1
  PerfE95: Perfect E Objects=patch_11_1
  PerfE97: Perfect E Objects=gnd_12_1
  PerfE98: Perfect E Objects=patch_12_1
  PerfE100: Perfect E Objects=gnd_13_1
  PerfE101: Perfect E Objects=patch_13_1
  PerfE103: Perfect E Objects=gnd_14_1
  PerfE104: Perfect E Objects=patch_14_1
  PerfE106: Perfect E Objects=gnd_15_1
  PerfE107: Perfect E Objects=patch_15_1
  PerfE109: Perfect E Objects=gnd_16_1
  PerfE110: Perfect E Objects=patch_16_1
  PerfE112: Perfect E Objects=gnd_17_1
  PerfE113: Perfect E Objects=patch_17_1
  PerfE115: Perfect E Objects=gnd_18_1
  PerfE116: Perfect E Objects=patch_18_1
  PerfE118: Perfect E Objects=gnd_19_1
  PerfE119: Perfect E Objects=patch_19_1
  PerfE121: Perfect E Objects=gnd_20_1
  PerfE122: Perfect E Objects=patch_20_1
  21: Lumped Port Objects=port1 Modes{Mode1{IntLine{port1.face(at (1.4, 0, 0)) -> port1.edge(1 of 1) at 0.25 along} CharImp=Zpi RenormImp=50ohm}} Impedance=50ohm
  22: Lumped Port Objects=port1_1 Modes{Mode1{IntLine{port1_1.face -> port1_1.edge(1 of 1) at 0.25 along} CharImp=Zpi RenormImp=50ohm}} Impedance=50ohm
  23: Lumped Port Objects=port1_2 Modes{Mode1{IntLine{port1_2.face -> port1_2.edge(1 of 1) at 0.25 along} CharImp=Zpi RenormImp=50ohm}} Impedance=50ohm
  24: Lumped Port Objects=port1_3 Modes{Mode1{IntLine{port1_3.face -> port1_3.edge(1 of 1) at 0.25 along} CharImp=Zpi RenormImp=50ohm}} Impedance=50ohm
  25: Lumped Port Objects=port1_4 Modes{Mode1{IntLine{port1_4.face -> port1_4.edge(1 of 1) at 0.25 along} CharImp=Zpi RenormImp=50ohm}} Impedance=50ohm
  26: Lumped Port Objects=port1_5 Modes{Mode1{IntLine{port1_5.face -> port1_5.edge(1 of 1) at 0.25 along} CharImp=Zpi RenormImp=50ohm}} Impedance=50ohm
  27: Lumped Port Objects=port1_6 Modes{Mode1{IntLine{port1_6.face -> port1_6.edge(1 of 1) at 0.25 along} CharImp=Zpi RenormImp=50ohm}} Impedance=50ohm
  28: Lumped Port Objects=port1_7 Modes{Mode1{IntLine{port1_7.face -> port1_7.edge(1 of 1) at 0.25 along} CharImp=Zpi RenormImp=50ohm}} Impedance=50ohm
  29: Lumped Port Objects=port1_8 Modes{Mode1{IntLine{port1_8.face -> port1_8.edge(1 of 1) at 0.25 along} CharImp=Zpi RenormImp=50ohm}} Impedance=50ohm
  30: Lumped Port Objects=port1_9 Modes{Mode1{IntLine{port1_9.face -> port1_9.edge(1 of 1) at 0.25 along} CharImp=Zpi RenormImp=50ohm}} Impedance=50ohm
  31: Lumped Port Objects=port1_10 Modes{Mode1{IntLine{port1_10.face -> port1_10.edge(1 of 1) at 0.25 along} CharImp=Zpi RenormImp=50ohm}} Impedance=50ohm
  32: Lumped Port Objects=port1_11 Modes{Mode1{IntLine{port1_11.face -> port1_11.edge(1 of 1) at 0.25 along} CharImp=Zpi RenormImp=50ohm}} Impedance=50ohm
  33: Lumped Port Objects=port1_12 Modes{Mode1{IntLine{port1_12.face -> port1_12.edge(1 of 1) at 0.25 along} CharImp=Zpi RenormImp=50ohm}} Impedance=50ohm
  34: Lumped Port Objects=port1_13 Modes{Mode1{IntLine{port1_13.face -> port1_13.edge(1 of 1) at 0.25 along} CharImp=Zpi RenormImp=50ohm}} Impedance=50ohm
  35: Lumped Port Objects=port1_14 Modes{Mode1{IntLine{port1_14.face -> port1_14.edge(1 of 1) at 0.25 along} CharImp=Zpi RenormImp=50ohm}} Impedance=50ohm
  36: Lumped Port Objects=port1_15 Modes{Mode1{IntLine{port1_15.face -> port1_15.edge(1 of 1) at 0.25 along} CharImp=Zpi RenormImp=50ohm}} Impedance=50ohm
  37: Lumped Port Objects=port1_16 Modes{Mode1{IntLine{port1_16.face -> port1_16.edge(1 of 1) at 0.25 along} CharImp=Zpi RenormImp=50ohm}} Impedance=50ohm
  38: Lumped Port Objects=port1_17 Modes{Mode1{IntLine{port1_17.face -> port1_17.edge(1 of 1) at 0.25 along} CharImp=Zpi RenormImp=50ohm}} Impedance=50ohm
  39: Lumped Port Objects=port1_18 Modes{Mode1{IntLine{port1_18.face -> port1_18.edge(1 of 1) at 0.25 along} CharImp=Zpi RenormImp=50ohm}} Impedance=50ohm
  40: Lumped Port Objects=port1_19 Modes{Mode1{IntLine{port1_19.face -> port1_19.edge(1 of 1) at 0.25 along} CharImp=Zpi RenormImp=50ohm}} Impedance=50ohm
  41: Lumped Port Objects=port1_20 Modes{Mode1{IntLine{port1_20.face -> port1_20.edge(1 of 1) at 0.25 along} CharImp=Zpi RenormImp=50ohm}} Impedance=50ohm
  20: Lumped Port Objects=port1_1_1 Modes{Mode1{IntLine{port1_1_1.face -> port1_1_1.edge(1 of 1) at 0.25 along} CharImp=Zpi RenormImp=50ohm}} Impedance=50ohm
  19: Lumped Port Objects=port1_2_1 Modes{Mode1{IntLine{port1_2_1.face -> port1_2_1.edge(1 of 1) at 0.25 along} CharImp=Zpi RenormImp=50ohm}} Impedance=50ohm
  18: Lumped Port Objects=port1_3_1 Modes{Mode1{IntLine{port1_3_1.face -> port1_3_1.edge(1 of 1) at 0.25 along} CharImp=Zpi RenormImp=50ohm}} Impedance=50ohm
  17: Lumped Port Objects=port1_4_1 Modes{Mode1{IntLine{port1_4_1.face -> port1_4_1.edge(1 of 1) at 0.25 along} CharImp=Zpi RenormImp=50ohm}} Impedance=50ohm
  16: Lumped Port Objects=port1_5_1 Modes{Mode1{IntLine{port1_5_1.face -> port1_5_1.edge(1 of 1) at 0.25 along} CharImp=Zpi RenormImp=50ohm}} Impedance=50ohm
  15: Lumped Port Objects=port1_6_1 Modes{Mode1{IntLine{port1_6_1.face -> port1_6_1.edge(1 of 1) at 0.25 along} CharImp=Zpi RenormImp=50ohm}} Impedance=50ohm
  14: Lumped Port Objects=port1_7_1 Modes{Mode1{IntLine{port1_7_1.face -> port1_7_1.edge(1 of 1) at 0.25 along} CharImp=Zpi RenormImp=50ohm}} Impedance=50ohm
  13: Lumped Port Objects=port1_8_1 Modes{Mode1{IntLine{port1_8_1.face -> port1_8_1.edge(1 of 1) at 0.25 along} CharImp=Zpi RenormImp=50ohm}} Impedance=50ohm
  12: Lumped Port Objects=port1_9_1 Modes{Mode1{IntLine{port1_9_1.face -> port1_9_1.edge(1 of 1) at 0.25 along} CharImp=Zpi RenormImp=50ohm}} Impedance=50ohm
  11: Lumped Port Objects=port1_10_1 Modes{Mode1{IntLine{port1_10_1.face -> port1_10_1.edge(1 of 1) at 0.25 along} CharImp=Zpi RenormImp=50ohm}} Impedance=50ohm
  10: Lumped Port Objects=port1_11_1 Modes{Mode1{IntLine{port1_11_1.face -> port1_11_1.edge(1 of 1) at 0.25 along} CharImp=Zpi RenormImp=50ohm}} Impedance=50ohm
  9: Lumped Port Objects=port1_12_1 Modes{Mode1{IntLine{port1_12_1.face -> port1_12_1.edge(1 of 1) at 0.25 along} CharImp=Zpi RenormImp=50ohm}} Impedance=50ohm
  8: Lumped Port Objects=port1_13_1 Modes{Mode1{IntLine{port1_13_1.face -> port1_13_1.edge(1 of 1) at 0.25 along} CharImp=Zpi RenormImp=50ohm}} Impedance=50ohm
  7: Lumped Port Objects=port1_14_1 Modes{Mode1{IntLine{port1_14_1.face -> port1_14_1.edge(1 of 1) at 0.25 along} CharImp=Zpi RenormImp=50ohm}} Impedance=50ohm
  6: Lumped Port Objects=port1_15_1 Modes{Mode1{IntLine{port1_15_1.face -> port1_15_1.edge(1 of 1) at 0.25 along} CharImp=Zpi RenormImp=50ohm}} Impedance=50ohm
  5: Lumped Port Objects=port1_16_1 Modes{Mode1{IntLine{port1_16_1.face -> port1_16_1.edge(1 of 1) at 0.25 along} CharImp=Zpi RenormImp=50ohm}} Impedance=50ohm
  4: Lumped Port Objects=port1_17_1 Modes{Mode1{IntLine{port1_17_1.face -> port1_17_1.edge(1 of 1) at 0.25 along} CharImp=Zpi RenormImp=50ohm}} Impedance=50ohm
  3: Lumped Port Objects=port1_18_1 Modes{Mode1{IntLine{port1_18_1.face -> port1_18_1.edge(1 of 1) at 0.25 along} CharImp=Zpi RenormImp=50ohm}} Impedance=50ohm
  2: Lumped Port Objects=port1_19_1 Modes{Mode1{IntLine{port1_19_1.face -> port1_19_1.edge(1 of 1) at 0.25 along} CharImp=Zpi RenormImp=50ohm}} Impedance=50ohm
  1: Lumped Port Objects=port1_20_1 Modes{Mode1{IntLine{port1_20_1.face -> port1_20_1.edge(1 of 1) at 0.25 along} CharImp=Zpi RenormImp=50ohm}} Impedance=50ohm
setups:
  Setup1: HfssDriven Frequency=2.5GHz MaxDeltaS=0.03 MaximumPasses=16 MinimumPasses=1 MinimumConvergedPasses=1 PercentRefinement=30 BasisOrder=1 PortAccuracy=2
    sweep Sweep: 2GHz to 3GHz step 0.005GHz; Type=Fast
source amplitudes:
  21:1, 22:1, 23:1, 24:1, 25:1, 26:1, 27:1, 28:1, 29:1, 30:1, 31:1, 32:1, 33:1, 34:1, 35:1, 36:1, 37:1, 38:1, 39:1, 40:1, 41:1, 20:1, 19:1, 18:1, 17:1, 16:1, 15:1, 14:1, 13:1, 12:1, 11:1, 10:1, 9:1, 8:1, 7:1, 6:1, 5:1, 4:1, 3:1, 2:1, 1:1: 1W 0deg
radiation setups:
  Infinite Sphere1: Infinite Sphere Theta=-180deg..180deg step 0.5deg Phi=0deg..360deg step 1deg
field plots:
  Vector_Jsurf1: Jsurf over patch.face(at (0, 0, 1.013)) on Setup1 : LastAdaptive at Freq=2.5GHz Phase=0deg
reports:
  XY Plot 1: dB(S(1,1)), dB(S(2,2)), dB(S(3,3)) vs Freq on Setup1 : Sweep
  3D Polar Plot 1: rETotal vs Phi, Theta on Setup1 : LastAdaptive, Infinite Sphere1 [Freq=2.5GHz]
  XY Plot 2: dB(rEPhi), dB(rETheta) vs Theta on Setup1 : LastAdaptive, Infinite Sphere1 [Phi=90deg Freq=2.5GHz]
  Realized Gain Plot 1: dB(RealizedGainTotal) vs Phi, Theta on Setup1 : LastAdaptive, Infinite Sphere1 [Freq=2.5GHz]
